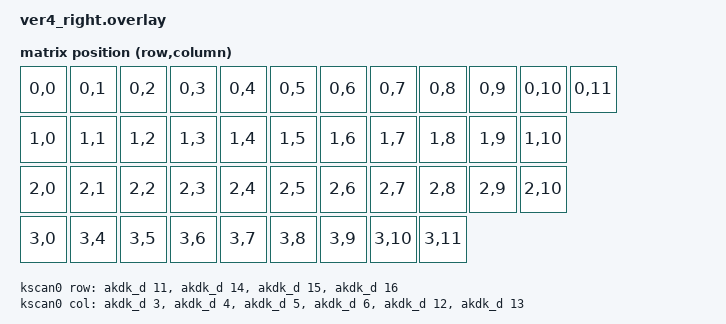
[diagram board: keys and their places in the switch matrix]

#include <dt-bindings/zmk/matrix_transform.h>
#include <input/processors.dtsi>
#include <dt-bindings/zmk/input_transform.h>
#include "layouts.dtsi"

/ {
    chosen {
        zmk,physical-layout = &physical_layout0;
    };

    default_transform: keymap_transform_0 {
        compatible = "zmk,matrix-transform";
        columns = <12>;
        rows = <4>;
        map = <
            RC(0,0) RC(0,1) RC(0,2) RC(0,3) RC(0,4) RC(0,5) RC(0,6) RC(0,7) RC(0,8) RC(0,9) RC(0,10) RC(0,11)
			RC(1,0) RC(1,1) RC(1,2) RC(1,3) RC(1,4) RC(1,5) RC(1,6) RC(1,7) RC(1,8) RC(1,9) RC(1,10)
			RC(2,0) RC(2,1) RC(2,2) RC(2,3) RC(2,4) RC(2,5) RC(2,6) RC(2,7) RC(2,8) RC(2,9) RC(2,10)
			RC(3,0) RC(3,4) RC(3,5) RC(3,6) RC(3,7) RC(3,8) RC(3,9) RC(3,10) RC(3,11)
        >;
		col-offset = <6>;
    };

    kscan0: kscan {
        compatible = "zmk,kscan-gpio-matrix";
        wakeup-source;

        diode-direction = "col2row";
        row-gpios
            = <&akdk_d 11 (GPIO_ACTIVE_HIGH | GPIO_PULL_DOWN)>
			,<&akdk_d 14 (GPIO_ACTIVE_HIGH | GPIO_PULL_DOWN)>
			,<&akdk_d 15 (GPIO_ACTIVE_HIGH | GPIO_PULL_DOWN)>
			,<&akdk_d 16 (GPIO_ACTIVE_HIGH | GPIO_PULL_DOWN)>
            ;
        col-gpios
            = <&akdk_d 3 GPIO_ACTIVE_HIGH>
			,<&akdk_d 4 GPIO_ACTIVE_HIGH>
			,<&akdk_d 5 GPIO_ACTIVE_HIGH>
			,<&akdk_d 6 GPIO_ACTIVE_HIGH>
			,<&akdk_d 12 GPIO_ACTIVE_HIGH>
			,<&akdk_d 13 GPIO_ACTIVE_HIGH>
            ;
    };

    trackpoint_listener: trackpoint_listener {
        compatible = "zmk,input-listener";
        device = <&trackpoint>;
        input-processors = <
            &zip_xy_transform (INPUT_TRANSFORM_X_INVERT | INPUT_TRANSFORM_Y_INVERT)
            &zip_temp_layer 5 400
            &zip_xy_scaler 4 7
        >;
    };


    split_inputs {
        #address-cells = <1>;
        #size-cells = <0>;

        trackball_split: trackball_split@0 {
            compatible = "zmk,input-split";
            reg = <0>;
        };
    };


    trackball_split_listener: trackball_split_listener {
        compatible = "zmk,input-listener";
        device = <&trackball_split>;
        status = "okay";
     
         /* normal cursor movement + auto mouse layer (layer 5) */
        input-processors = <
            &zip_xy_transform (INPUT_TRANSFORM_X_INVERT | INPUT_TRANSFORM_Y_INVERT)
            &zip_temp_layer 5 400
            &zip_xy_scaler 4 7
        >;

        /* scroll mode when layer 6 is active */
        scroller {
            layers = <6>;

            input-processors = <
                &zip_xy_transform (INPUT_TRANSFORM_X_INVERT | INPUT_TRANSFORM_Y_INVERT)
                &zip_xy_to_scroll_mapper
                &zip_scroll_transform (INPUT_TRANSFORM_Y_INVERT)
                &zip_scroll_scaler 2 10
            >;

            process-next;
        };
    };
};

  &pinctrl {
    i2c0_default: i2c0_default {
      group1 {
        psels = <NRF_PSEL(TWIM_SDA, 0, 12)>,
            <NRF_PSEL(TWIM_SCL, 1, 9)>;
      };
    };

    i2c0_sleep: i2c0_sleep {
      group1 {
        psels = <NRF_PSEL(TWIM_SDA, 0, 12)>,
            <NRF_PSEL(TWIM_SCL, 1, 9)>;
        low-power-enable;
      };
    };
  };

  &i2c0 {
    status = "okay";
    compatible = "nordic,nrf-twim";
    pinctrl-0 = <&i2c0_default>;
    pinctrl-1 = <&i2c0_sleep>;
    pinctrl-names = "default", "sleep";
    clock-frequency = <I2C_BITRATE_FAST>;
    zephyr,concat-buf-size = <32>;

    trackpoint: trackpoint@57 {
      status = "okay";
      compatible = "lpps";
      reg = <0x57>;
      irq-gpios = <&gpio0 13 GPIO_PULL_UP>;
    };
  };
  
